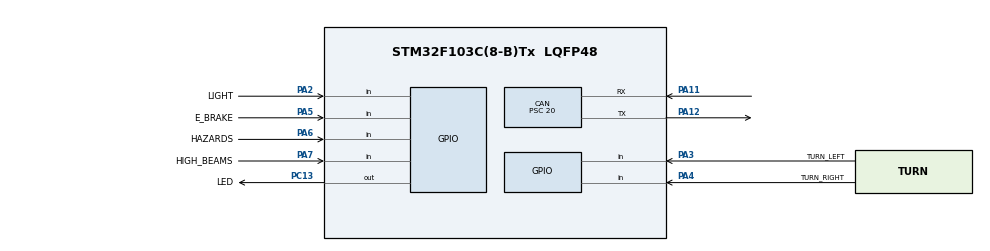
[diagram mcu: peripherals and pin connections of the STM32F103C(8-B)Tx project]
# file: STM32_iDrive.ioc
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CAN.BS1=CAN_BS1_16TQ
CAN.CalculateTimeBit=10000
CAN.CalculateTimeQuantum=555.5555555555555
CAN.Prescaler=20
Mcu.Family=STM32F1
Mcu.Name=STM32F103C(8-B)Tx
Mcu.Package=LQFP48
NVIC.PriorityGroup=NVIC_PRIORITYGROUP_4
NVIC.USB_HP_CAN1_TX_IRQn=true\:0\:0\:false\:false\:true\:true\:true
NVIC.USB_LP_CAN1_RX0_IRQn=true\:0\:0\:false\:false\:true\:true\:true
PA11.Mode=Master
PA11.Signal=CAN_RX
PA12.Mode=Master
PA12.Signal=CAN_TX
PA13.Mode=Serial_Wire
PA13.Signal=SYS_JTMS-SWDIO
PA14.Mode=Serial_Wire
PA14.Signal=SYS_JTCK-SWCLK
PA2.GPIO_Label=LIGHT
PA2.GPIO_PuPd=GPIO_PULLDOWN
PA2.Signal=GPIO_Input
PA3.GPIO_Label=TURN_LEFT
PA3.GPIO_PuPd=GPIO_PULLDOWN
PA3.Signal=GPIO_Input
PA4.GPIO_Label=TURN_RIGHT
PA4.GPIO_PuPd=GPIO_PULLDOWN
PA4.Signal=GPIO_Input
PA5.GPIO_Label=E_BRAKE
PA5.GPIO_PuPd=GPIO_PULLDOWN
PA5.Signal=GPIO_Input
PA6.GPIO_Label=HAZARDS
PA6.GPIO_PuPd=GPIO_PULLDOWN
PA6.Signal=GPIO_Input
PA7.GPIO_Label=HIGH_BEAMS
PA7.GPIO_PuPd=GPIO_PULLDOWN
PA7.Signal=GPIO_Input
PC13-TAMPER-RTC.GPIO_Label=LED
PC13-TAMPER-RTC.GPIO_ModeDefaultOutputPP=GPIO_MODE_OUTPUT_PP
PC13-TAMPER-RTC.GPIO_PuPd=GPIO_NOPULL
PC13-TAMPER-RTC.PinState=GPIO_PIN_SET
PC13-TAMPER-RTC.Signal=GPIO_Output
PD0-OSC_IN.Mode=HSE-External-Oscillator
PD0-OSC_IN.Signal=RCC_OSC_IN
PD1-OSC_OUT.Mode=HSE-External-Oscillator
PD1-OSC_OUT.Signal=RCC_OSC_OUT
ProjectManager.HeapSize=0x200
ProjectManager.StackSize=0x400
ProjectManager.TargetToolchain=STM32CubeIDE
RCC.AHBFreq_Value=72000000
RCC.APB1CLKDivider=RCC_HCLK_DIV2
RCC.APB1Freq_Value=36000000
RCC.APB1TimFreq_Value=72000000
RCC.APB2Freq_Value=72000000
RCC.APB2TimFreq_Value=72000000
RCC.HCLKFreq_Value=72000000
RCC.PLLMUL=RCC_PLL_MUL9
RCC.PLLSourceVirtual=RCC_PLLSOURCE_HSE
RCC.SYSCLKFreq_VALUE=72000000
RCC.SYSCLKSource=RCC_SYSCLKSOURCE_PLLCLK
RCC.USBFreq_Value=72000000
board=custom

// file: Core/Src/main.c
/* USER CODE BEGIN Header */
/**
  ******************************************************************************
  * @file           : main.c
  * @brief          : Main program body
  ******************************************************************************
  * @attention
  *
  * <h2><center>&copy; Copyright (c) 2020 STMicroelectronics.
  * All rights reserved.</center></h2>
  *
  * This software component is licensed by ST under BSD 3-Clause license,
  * the "License"; You may not use this file except in compliance with the
  * License. You may obtain a copy of the License at:
  *                        opensource.org/licenses/BSD-3-Clause
  *
  ******************************************************************************
  */
/* USER CODE END Header */

#include "main.h"

/* USER CODE BEGIN Includes */
#include "stdbool.h"
#include <stdio.h>
/* USER CODE END Includes */

CAN_HandleTypeDef hcan;

/* USER CODE BEGIN PV */
CAN_FilterTypeDef sFilterConfig;
CAN_TxHeaderTypeDef TxHeader;
CAN_RxHeaderTypeDef RxHeader;
uint8_t TxData[8];
uint8_t RxData[8];
uint32_t TxMailbox;

typedef struct
{
  uint16_t rpm;
  uint8_t mph;
  uint16_t oiltemp;
  uint16_t watertemp;
  uint8_t ebrake;
  uint8_t fuel;
  uint8_t highbeams;
  uint8_t hazards;
} car_data_t;

typedef enum
{
  UNKNOWN = 0,
  INITIALIZED = 1,
  IGNITION_ON = 2,
  CRANKING = 3,
  RUNNING = 4
} cluster_state_t;

car_data_t car;
cluster_state_t cluster_state;

uint32_t time_1p5hz;
uint32_t time_2hz;
uint32_t time_5hz;
uint32_t time_10hz;
uint32_t time_100hz;
uint32_t time_turnsignal;
uint32_t time_lights;

uint32_t time_init;

uint32_t rpmcount;
uint32_t current_time;
uint32_t light_timer;
uint32_t abs_timer;
uint32_t counter_timer;
uint8_t abs_counter;
uint8_t counter;
uint16_t mph_counter;
uint32_t mph_timer;
uint16_t mph_last;

bool turnsignal_left;
bool lights_on;
uint16_t error_counter;

uint32_t rpmcount;

/* USER CODE END PV */

void SystemClock_Config(void);
static void MX_GPIO_Init(void);
static void MX_CAN_Init(void);

int main(void)
{

  /* MCU Configuration--------------------------------------------------------*/

  /* Reset of all peripherals, Initializes the Flash interface and the Systick. */
  HAL_Init();

  /* Configure the system clock */
  SystemClock_Config();

  /* Initialize all configured peripherals */
  MX_GPIO_Init();
  MX_CAN_Init();
  /* USER CODE BEGIN 2 */
  //  TxHeader.DLC = 8;
  //  TxHeader.StdId = 0x501;
  //  TxData[0] = 0x01;
  //  TxData[1] = 0x00;
  //  TxData[2] = 0x00;
  //  TxData[3] = 0x00;
  //  TxData[4] = 0x00;
  //  TxData[5] = 0x00;
  //  TxData[6] = 0x00;
  //  TxData[7] = 0x00;
  //
  //  TxMailbox = 0;

  //  Send_IGN_KEY_Status(3, &hcan, &TxHeader, &TxData, &TxMailbox);
  //  Set_Light_Switch(1, &hcan, &TxHeader, &TxData, &TxMailbox);
  //  if (HAL_CAN_AddTxMessage(&hcan, &TxHeader, &TxData, &TxMailbox) != HAL_OK)
  //  {
  //	  Error_Handler();
  //  }
  //  light_timer = HAL_GetTick();

  Initialize(); // init variables
  /* USER CODE END 2 */

  /* Infinite loop */
  /* USER CODE BEGIN WHILE */
  while (1)
  {
	  HAL_GPIO_TogglePin(GPIOC,GPIO_PIN_13);
	  HAL_Delay(500);
    //statemachine, that simulates turn on in car, we probably need to cycle trough ignition states?
//    switch (cluster_state)
//    {
//    case UNKNOWN:
//      if (UPDATE_10HZ) //updates every 100ms
//      {
//        Send_IGN_KEY_Status(1, &hcan, &TxHeader, &TxData, &TxMailbox); //T15
//        while (!HAL_CAN_GetTxMailboxesFreeLevel(&hcan));
//        if (HAL_CAN_AddTxMessage(&hcan, &TxHeader, &TxData, &TxMailbox) != HAL_OK)
//        {
//          Error_Handler();
//        }
//
//        time_10hz = HAL_GetTick();
//      }
//      if (UPDATE_5HZ) //updates every 200ms
//      {
//        Send_IGN_Status(0, &hcan, &TxHeader, &TxData, &TxMailbox);
//        while (!HAL_CAN_GetTxMailboxesFreeLevel(&hcan));
//        if (HAL_CAN_AddTxMessage(&hcan, &TxHeader, &TxData, &TxMailbox) != HAL_OK)
//        {
//          Error_Handler();
//        }
//
//        Periodic_Maintenance();
//
//        time_5hz = HAL_GetTick();
//      }
//
//      if (UPDATE_2SEC)
//      {
//        cluster_state = INITIALIZED;
//        time_init = HAL_GetTick();
//      }
//
//      if (UPDATE_LIGHTS)
//      {
//        Set_Lights(lights_on, &hcan, &TxHeader, &TxData, &TxMailbox); //this might need to be repeated as lights otherwise turn off after a few seconds
//        while (!HAL_CAN_GetTxMailboxesFreeLevel(&hcan));
//        if (HAL_CAN_AddTxMessage(&hcan, &TxHeader, &TxData, &TxMailbox) != HAL_OK)
//        {
//          Error_Handler();
//        }
//      }
//
//      break;
//    case INITIALIZED:
//      if (UPDATE_10HZ) //updates every 100ms
//      {
//        Send_IGN_KEY_Status(1, &hcan, &TxHeader, &TxData, &TxMailbox); //engine off (key is being inserted)
//        while (!HAL_CAN_GetTxMailboxesFreeLevel(&hcan));
//        if (HAL_CAN_AddTxMessage(&hcan, &TxHeader, &TxData, &TxMailbox) != HAL_OK)
//        {
//          Error_Handler();
//        }
//
//        time_10hz = HAL_GetTick();
//      }
//      if (UPDATE_5HZ) //updates every 200ms
//      {
//        Send_IGN_Status(1, &hcan, &TxHeader, &TxData, &TxMailbox);
//        while (!HAL_CAN_GetTxMailboxesFreeLevel(&hcan));
//        if (HAL_CAN_AddTxMessage(&hcan, &TxHeader, &TxData, &TxMailbox) != HAL_OK)
//        {
//          Error_Handler();
//        }
//
//        Periodic_Maintenance();
//
//        time_5hz = HAL_GetTick();
//      }
//
//      if (UPDATE_1SEC)
//      {
//        cluster_state = IGNITION_ON;
//        time_init = HAL_GetTick();
//      }
//      if (UPDATE_LIGHTS)
//      {
//        Set_Lights(lights_on, &hcan, &TxHeader, &TxData, &TxMailbox); //this might need to be repeated as lights otherwise turn off after a few seconds
//        while (!HAL_CAN_GetTxMailboxesFreeLevel(&hcan));
//        if (HAL_CAN_AddTxMessage(&hcan, &TxHeader, &TxData, &TxMailbox) != HAL_OK)
//        {
//          Error_Handler();
//        }
//
//        time_lights = HAL_GetTick();
//      }
//      break;
//    case IGNITION_ON:
//      if (UPDATE_10HZ) //updates every 100ms
//      {
//        Send_IGN_KEY_Status(3, &hcan, &TxHeader, &TxData, &TxMailbox); //engine running / key to position 2
//        while (!HAL_CAN_GetTxMailboxesFreeLevel(&hcan));
//        if (HAL_CAN_AddTxMessage(&hcan, &TxHeader, &TxData, &TxMailbox) != HAL_OK)
//        {
//          Error_Handler();
//        }
//        time_10hz = HAL_GetTick();
//      }
//      if (UPDATE_5HZ) //updates every 200ms
//      {
//        Send_IGN_Status(2, &hcan, &TxHeader, &TxData, &TxMailbox);
//        while (!HAL_CAN_GetTxMailboxesFreeLevel(&hcan));
//        if (HAL_CAN_AddTxMessage(&hcan, &TxHeader, &TxData, &TxMailbox) != HAL_OK)
//        {
//          Error_Handler();
//        }
//
//        Set_Temp(car.oiltemp, &hcan, &TxHeader, &TxData, &TxMailbox);
//        while (!HAL_CAN_GetTxMailboxesFreeLevel(&hcan));
//        if (HAL_CAN_AddTxMessage(&hcan, &TxHeader, &TxData, &TxMailbox) != HAL_OK)
//        {
//          Error_Handler();
//        }
//
//        Set_Fuel(car.fuel, &hcan, &TxHeader, &TxData, &TxMailbox);
//        while (!HAL_CAN_GetTxMailboxesFreeLevel(&hcan));
//        if (HAL_CAN_AddTxMessage(&hcan, &TxHeader, &TxData, &TxMailbox) != HAL_OK)
//        {
//          Error_Handler();
//        }
//
//        Periodic_Maintenance();
//        Delete_Error_MSG();
//
//        time_5hz = HAL_GetTick();
//      }
//
//      if (UPDATE_2SEC)
//      {
//        cluster_state = CRANKING; // only if key to cranking
//        time_init = HAL_GetTick();
//      }
//      if (UPDATE_LIGHTS)
//      {
//        Set_Lights(lights_on, &hcan, &TxHeader, &TxData, &TxMailbox); //this might need to be repeated as lights otherwise turn off after a few seconds
//        while (!HAL_CAN_GetTxMailboxesFreeLevel(&hcan));
//        if (HAL_CAN_AddTxMessage(&hcan, &TxHeader, &TxData, &TxMailbox) != HAL_OK)
//        {
//          Error_Handler();
//        }
//        time_lights = HAL_GetTick();
//      }
//      break;
//    case CRANKING:
//      if (UPDATE_10HZ) //updates every 100ms
//      {
//        Send_IGN_KEY_Status(4, &hcan, &TxHeader, &TxData, &TxMailbox); //engine off (key in position 1 also this value when engine is stopped)
//        while (!HAL_CAN_GetTxMailboxesFreeLevel(&hcan));
//        if (HAL_CAN_AddTxMessage(&hcan, &TxHeader, &TxData, &TxMailbox) != HAL_OK)
//        {
//          Error_Handler();
//        }
//        time_10hz = HAL_GetTick();
//      }
//      if (UPDATE_5HZ) //updates every 200ms
//      {
//        Send_IGN_Status(2, &hcan, &TxHeader, &TxData, &TxMailbox);
//        while (!HAL_CAN_GetTxMailboxesFreeLevel(&hcan));
//        if (HAL_CAN_AddTxMessage(&hcan, &TxHeader, &TxData, &TxMailbox) != HAL_OK)
//        {
//          Error_Handler();
//        }
//
//        Set_Temp(car.oiltemp, &hcan, &TxHeader, &TxData, &TxMailbox);
//        while (!HAL_CAN_GetTxMailboxesFreeLevel(&hcan));
//        if (HAL_CAN_AddTxMessage(&hcan, &TxHeader, &TxData, &TxMailbox) != HAL_OK)
//        {
//          Error_Handler();
//        }
//
//        Set_Fuel(car.fuel, &hcan, &TxHeader, &TxData, &TxMailbox);
//        while (!HAL_CAN_GetTxMailboxesFreeLevel(&hcan));
//        if (HAL_CAN_AddTxMessage(&hcan, &TxHeader, &TxData, &TxMailbox) != HAL_OK)
//        {
//          Error_Handler();
//        }
//
//        Periodic_Maintenance();
//
//        time_5hz = HAL_GetTick();
//      }
//
//      if (UPDATE_1SEC) // 1sec for simulation only, otherwise use engine status from ECU
//      {
//        cluster_state = RUNNING;
//        time_init = HAL_GetTick();
//      }
//      if (UPDATE_LIGHTS)
//      {
//        Set_Lights(lights_on, &hcan, &TxHeader, &TxData, &TxMailbox); //this might need to be repeated as lights otherwise turn off after a few seconds
//        while (!HAL_CAN_GetTxMailboxesFreeLevel(&hcan));
//        if (HAL_CAN_AddTxMessage(&hcan, &TxHeader, &TxData, &TxMailbox) != HAL_OK)
//        {
//          Error_Handler();
//        }
//        time_lights = HAL_GetTick();
//      }
//      break;
//    case RUNNING:
//      if (UPDATE_10HZ) //updates every 100ms
//      {
//        Send_IGN_KEY_Status(3, &hcan, &TxHeader, &TxData, &TxMailbox); //engine off (key in position 1 also this value when engine is stopped)
//        while (!HAL_CAN_GetTxMailboxesFreeLevel(&hcan));
//        if (HAL_CAN_AddTxMessage(&hcan, &TxHeader, &TxData, &TxMailbox) != HAL_OK)
//        {
//          Error_Handler();
//        }
//        Send_Speed_Msg();
//
//        time_10hz = HAL_GetTick();
//      }
//      if (UPDATE_5HZ) //updates every 200ms
//      {
//        Send_IGN_Status(2, &hcan, &TxHeader, &TxData, &TxMailbox);
//        while (!HAL_CAN_GetTxMailboxesFreeLevel(&hcan));
//        if (HAL_CAN_AddTxMessage(&hcan, &TxHeader, &TxData, &TxMailbox) != HAL_OK)
//        {
//          Error_Handler();
//        }
//
//        Set_Temp(car.oiltemp, &hcan, &TxHeader, &TxData, &TxMailbox);
//        while (!HAL_CAN_GetTxMailboxesFreeLevel(&hcan));
//        if (HAL_CAN_AddTxMessage(&hcan, &TxHeader, &TxData, &TxMailbox) != HAL_OK)
//        {
//          Error_Handler();
//        }
//        Set_Fuel(car.fuel, &hcan, &TxHeader, &TxData, &TxMailbox);
//        while (!HAL_CAN_GetTxMailboxesFreeLevel(&hcan));
//        if (HAL_CAN_AddTxMessage(&hcan, &TxHeader, &TxData, &TxMailbox) != HAL_OK)
//        {
//          Error_Handler();
//        }
//
//        Periodic_Maintenance();
//
//        time_5hz = HAL_GetTick();
//      }
//      if (UPDATE_100HZ) //updates every 10ms
//      {
//        Set_RPM(car.rpm, &hcan, &TxHeader, &TxData, &TxMailbox);
//        while (!HAL_CAN_GetTxMailboxesFreeLevel(&hcan));
//        if (HAL_CAN_AddTxMessage(&hcan, &TxHeader, &TxData, &TxMailbox) != HAL_OK)
//        {
//          Error_Handler();
//        }
//        // rpmcount++;
//        // if (rpmcount > 7000)
//        //   rpmcount = 0;
//        time_100hz = HAL_GetTick();
//      }
//      if (UPDATE_LIGHTS)
//      {
//        Set_Lights(lights_on, &hcan, &TxHeader, &TxData, &TxMailbox); //this might need to be repeated as lights otherwise turn off after a few seconds
//        while (!HAL_CAN_GetTxMailboxesFreeLevel(&hcan));
//        if (HAL_CAN_AddTxMessage(&hcan, &TxHeader, &TxData, &TxMailbox) != HAL_OK)
//        {
//          Error_Handler();
//        }
//
//        time_lights = HAL_GetTick();
//      }
//      break;
//    default:
//      break;
//    }

    if (UPDATE_100HZ) //updates every 10ms
    {
      // Set_RPM(car.rpm, &hcan, &TxHeader, &TxData, &TxMailbox);
      // if (HAL_CAN_AddTxMessage(&hcan, &TxHeader, &TxData, &TxMailbox) != HAL_OK)
      // {
      //   Error_Handler();
      // }
      // rpmcount++;
      // if (rpmcount > 7000)
      //   rpmcount = 0;
      // time_100hz = HAL_GetTick();
    }

    // if (UPDATE_2HZ)
    // {
    //   Delete_Error_MSG();

    //   time_2hz = HAL_GetTick();
    // }

    if (HAL_GPIO_ReadPin(GPIOA, LIGHT_Pin))
      lights_on = true;
    else if (!HAL_GPIO_ReadPin(GPIOA, LIGHT_Pin))
      lights_on = false;

    if (HAL_GPIO_ReadPin(GPIOA, TURN_LEFT_Pin))
    {
      if (UPDATE_TURNSIGNAL)
      {
        Turnsignal_Left();
        time_turnsignal = HAL_GetTick();
      }
    }

    if (HAL_GPIO_ReadPin(GPIOA, TURN_RIGHT_Pin))
    {
      if (UPDATE_TURNSIGNAL)
      {
        Turnsignal_Right();
        time_turnsignal = HAL_GetTick();
      }
    }
    if (HAL_GPIO_ReadPin(GPIOA, E_BRAKE_Pin))
      car.ebrake = true;
    else if (!HAL_GPIO_ReadPin(GPIOA, E_BRAKE_Pin))
      car.ebrake = false;

    if (HAL_GPIO_ReadPin(GPIOA, HAZARDS_Pin))
    {
      if (UPDATE_TURNSIGNAL)
      {
        Hazards();
        time_turnsignal = HAL_GetTick();
      }
    }
    // car.hazards = true;
    else if (!HAL_GPIO_ReadPin(GPIOA, HAZARDS_Pin))
      car.hazards = false;

    if (HAL_GPIO_ReadPin(GPIOA, HIGH_BEAMS_Pin))
      car.highbeams = true;
    else if (!HAL_GPIO_ReadPin(GPIOA, HIGH_BEAMS_Pin))
      car.highbeams = false;
  }
}

  /* USER CODE END WHILE */

  /**
  * @brief System Clock Configuration
  * @retval None
  */
  void SystemClock_Config(void)
  {
    RCC_OscInitTypeDef RCC_OscInitStruct = {0};
    RCC_ClkInitTypeDef RCC_ClkInitStruct = {0};

    /** Initializes the CPU, AHB and APB busses clocks
  */
    RCC_OscInitStruct.OscillatorType = RCC_OSCILLATORTYPE_HSE;
    RCC_OscInitStruct.HSEState = RCC_HSE_ON;
    RCC_OscInitStruct.HSEPredivValue = RCC_HSE_PREDIV_DIV1;
    RCC_OscInitStruct.HSIState = RCC_HSI_ON;
    RCC_OscInitStruct.PLL.PLLState = RCC_PLL_ON;
    RCC_OscInitStruct.PLL.PLLSource = RCC_PLLSOURCE_HSE;
    RCC_OscInitStruct.PLL.PLLMUL = RCC_PLL_MUL9;
    if (HAL_RCC_OscConfig(&RCC_OscInitStruct) != HAL_OK)
    {
      Error_Handler();
    }
    /** Initializes the CPU, AHB and APB busses clocks
  */
    RCC_ClkInitStruct.ClockType = RCC_CLOCKTYPE_HCLK | RCC_CLOCKTYPE_SYSCLK | RCC_CLOCKTYPE_PCLK1 | RCC_CLOCKTYPE_PCLK2;
    RCC_ClkInitStruct.SYSCLKSource = RCC_SYSCLKSOURCE_PLLCLK;
    RCC_ClkInitStruct.AHBCLKDivider = RCC_SYSCLK_DIV1;
    RCC_ClkInitStruct.APB1CLKDivider = RCC_HCLK_DIV2;
    RCC_ClkInitStruct.APB2CLKDivider = RCC_HCLK_DIV1;

    if (HAL_RCC_ClockConfig(&RCC_ClkInitStruct, FLASH_LATENCY_2) != HAL_OK)
    {
      Error_Handler();
    }
  }

  /**
  * @brief CAN Initialization F
  * unction
  * @param None
  * @retval None
  */
  static void MX_CAN_Init(void)
  {

    hcan.Instance = CAN1;
    hcan.Init.Prescaler = 20;
    hcan.Init.Mode = CAN_MODE_NORMAL;
    hcan.Init.SyncJumpWidth = CAN_SJW_1TQ;
    hcan.Init.TimeSeg1 = CAN_BS1_16TQ;
    hcan.Init.TimeSeg2 = CAN_BS2_1TQ;
    hcan.Init.TimeTriggeredMode = DISABLE;
    hcan.Init.AutoBusOff = DISABLE;
    hcan.Init.AutoWakeUp = DISABLE;
    hcan.Init.AutoRetransmission = DISABLE;
    hcan.Init.ReceiveFifoLocked = DISABLE;
    hcan.Init.TransmitFifoPriority = DISABLE;
    if (HAL_CAN_Init(&hcan) != HAL_OK)
    {
      Error_Handler();
    }
    /* USER CODE BEGIN CAN_Init 2 */
    sFilterConfig.FilterBank = 0; // 0..13 for CAN1, 14..27 for CAN2
    //sFilterConfig.FilterFIFOAssignment = CAN_FILTER_FIFO0;
    sFilterConfig.SlaveStartFilterBank = 14;
    sFilterConfig.FilterFIFOAssignment = CAN_RX_FIFO0;
    sFilterConfig.FilterMode = CAN_FILTERMODE_IDMASK;
    sFilterConfig.FilterScale = CAN_FILTERSCALE_32BIT;
    sFilterConfig.FilterIdHigh = 0x0000;
    sFilterConfig.FilterIdLow = 0x0000;
    sFilterConfig.FilterMaskIdHigh = 0x0000;
    sFilterConfig.FilterMaskIdLow = 0x0000;
    sFilterConfig.FilterActivation = ENABLE;
    if (HAL_CAN_ConfigFilter(&hcan, &sFilterConfig) != HAL_OK)
    {
      /* Filter configuration Error */
      Error_Handler();
    }
    // now start the can peripheral
    if (HAL_CAN_Start(&hcan) != HAL_OK)
    {
      Error_Handler();
    }
    // activate CAN RX IRQ
    if (HAL_CAN_ActivateNotification(&hcan, CAN_IT_RX_FIFO0_MSG_PENDING) != HAL_OK)
    {
      Error_Handler();
    }
    // send test message
    //   TxHeader.DLC = 8;
    //   TxHeader.StdId = 0x273;
    //   TxData[0] = 0x1D;
    //   TxData[1] = 0xE1;
    //   TxData[2] = 0x00;
    //   TxData[3] = 0xF0;
    //   TxData[4] = 0xFF;
    //   TxData[5] = 0x7F;
    //   TxData[6] = 0xDE;
    //   TxData[7] = 0x04;
    //   TxMailbox = 0;
    //
    //   if (HAL_CAN_AddTxMessage(&hcan, &TxHeader, &TxData, &TxMailbox) != HAL_OK)
    //   {
    //   	Error_Handler();
    //   }
    //
    //   HAL_Delay(250);
    //
    //   if (HAL_CAN_AddTxMessage(&hcan, &TxHeader, &TxData, &TxMailbox) != HAL_OK)
    //   {
    //	   Error_Handler();
    //   }

    /* USER CODE END CAN_Init 2 */
  }

  /**
  * @brief GPIO Initialization Function
  * @param None
  * @retval None
  */
  static void MX_GPIO_Init(void)
  {
    GPIO_InitTypeDef GPIO_InitStruct = {0};

    /* GPIO Ports Clock Enable */
    __HAL_RCC_GPIOC_CLK_ENABLE();
    __HAL_RCC_GPIOD_CLK_ENABLE();
    __HAL_RCC_GPIOA_CLK_ENABLE();

    /*Configure GPIO pin Output Level */
    HAL_GPIO_WritePin(LED_GPIO_Port, LED_Pin, GPIO_PIN_SET);

    /*Configure GPIO pin : LED_Pin */
    GPIO_InitStruct.Pin = LED_Pin;
    GPIO_InitStruct.Mode = GPIO_MODE_OUTPUT_PP;
    GPIO_InitStruct.Pull = GPIO_NOPULL;
    GPIO_InitStruct.Speed = GPIO_SPEED_FREQ_LOW;
    HAL_GPIO_Init(LED_GPIO_Port, &GPIO_InitStruct);

    /*Configure GPIO pins : LIGHT_Pin TURN_LEFT_Pin TURN_RIGHT_Pin E_BRAKE_Pin
                           HAZARDS_Pin HIGH_BEAMS_Pin */
    GPIO_InitStruct.Pin = LIGHT_Pin | TURN_LEFT_Pin | TURN_RIGHT_Pin | E_BRAKE_Pin | HAZARDS_Pin | HIGH_BEAMS_Pin;
    GPIO_InitStruct.Mode = GPIO_MODE_INPUT;
    GPIO_InitStruct.Pull = GPIO_PULLDOWN;
    HAL_GPIO_Init(GPIOA, &GPIO_InitStruct);
  }

  /* USER CODE BEGIN 4 */

  void Compose_CAN_msg(uint8_t offset, uint8_t mtype, uint8_t fromid, uint8_t toid, uint8_t table, uint8_t length, uint64_t data)
  {
    //  TxData[0] = AFR_to_ADC_counts(o2_sensor[0].AFR) >> 8;
    //  TxData[1] = AFR_to_ADC_counts(o2_sensor[0].AFR) & 0xFF;
    //  TxData[2] = AFR_to_ADC_counts(o2_sensor[1].AFR) >> 8;
    //  TxData[3] = AFR_to_ADC_counts(o2_sensor[1].AFR) & 0xFF;
    //  TxData[4] = AFR_to_ADC_counts(o2_sensor[2].AFR) >> 8;
    //  TxData[5] = AFR_to_ADC_counts(o2_sensor[2].AFR) & 0xFF;
    //  TxData[6] = AFR_to_ADC_counts(o2_sensor[3].AFR) >> 8;
    //  TxData[7] = AFR_to_ADC_counts(o2_sensor[3].AFR) & 0xFF;
    // TxData[2] = o2_sensor.function_code >> 8;
    // TxData[3] = o2_sensor.function_code & 0xFF;
    // TxData[4] = o2_sensor.warmup >> 8;
    // TxData[5] = o2_sensor.warmup & 0xFF;
    // TxData[6] = o2_sensor.error_code >> 8;
    // TxData[7] = o2_sensor.error_code & 0xFF;
    //  TxHeader.DLC = length;
    //  TxMailbox = 0;
    //  TxHeader.ExtId = (offset << 18) | (mtype << 15) | (fromid << 11) | (toid << 7) | (table << 3);
    //  TxHeader.IDE = CAN_ID_EXT;
    //  if (HAL_CAN_AddTxMessage(&hcan, &TxHeader, &TxData, &TxMailbox) != HAL_OK)
    //  {
    //    Error_Handler();
    //  }
  }

  void HAL_CAN_RxFifo0MsgPendingCallback(CAN_HandleTypeDef * hcan)
  {
    if (HAL_CAN_GetRxMessage(hcan, CAN_RX_FIFO0, &RxHeader, RxData) != HAL_OK)
    {
      Error_Handler();
    }
    else
    {
      //		Parse_CAN_data();
      //got valid can data
    }
  }

  void Initialize()
  {
    time_100hz = HAL_GetTick();
    time_10hz = HAL_GetTick();
    time_5hz = HAL_GetTick();
    time_2hz = HAL_GetTick();
    time_1p5hz = HAL_GetTick();
    time_turnsignal = HAL_GetTick();
    abs_timer = HAL_GetTick();
    counter_timer = HAL_GetTick();
    time_init = HAL_GetTick();
    time_lights = HAL_GetTick();

    turnsignal_left = false;
    lights_on = false;
    rpmcount = 500;
    abs_counter = 0;
    counter = 0;
    mph_counter = 0;
    mph_last = 0;
    mph_timer = 0;

    car.mph = 5;
    car.rpm = 1500;
    car.oiltemp = 250;
    car.ebrake = false; //ebrake off
    car.fuel = 100;     // 100%
    car.highbeams = false;
    car.hazards = false;

    error_counter = 0;
    // Set_Time(&hcan, &TxHeader, &TxData, &TxMailbox);
    // if (HAL_CAN_AddTxMessage(&hcan, &TxHeader, &TxData, &TxMailbox) != HAL_OK)
    // {
    //   Error_Handler();
    // }

    // Delete_Error_MSG();
  }

  void Periodic_Maintenance()
  {
    // Set_DSC(car.mph, &hcan, &TxHeader, &TxData, &TxMailbox);
    // while (!HAL_CAN_GetTxMailboxesFreeLevel(&hcan));
    // if (HAL_CAN_AddTxMessage(&hcan, &TxHeader, &TxData, &TxMailbox) != HAL_OK)
    // {
    //   Error_Handler();
    // }
    // Set_Seatbelt_Light(0, &hcan, &TxHeader, &TxData, &TxMailbox);
    // if (HAL_CAN_AddTxMessage(&hcan, &TxHeader, &TxData, &TxMailbox) != HAL_OK)
    // {
    //   Error_Handler();
    // }

    // Set_ABS(0, &hcan, &TxHeader, &TxData, &TxMailbox);
    // while (!HAL_CAN_GetTxMailboxesFreeLevel(&hcan));
    // if (HAL_CAN_AddTxMessage(&hcan, &TxHeader, &TxData, &TxMailbox) != HAL_OK)
    // {
    //   Error_Handler();
    // }

    if (HAL_GetTick() >= (abs_timer + 200))
    {
      abs_counter++;
      abs_timer = HAL_GetTick();
    }
    if (abs_counter > 14)
      abs_counter = 0;
    Set_ABS_2(abs_counter, &hcan, &TxHeader, &TxData, &TxMailbox);
    while (!HAL_CAN_GetTxMailboxesFreeLevel(&hcan));
    if (HAL_CAN_AddTxMessage(&hcan, &TxHeader, &TxData, &TxMailbox) != HAL_OK)
    {
      Error_Handler();
    }

    if (HAL_GetTick() >= (counter_timer + 200))
    {
      counter++;
      counter_timer = HAL_GetTick();
    }
    if (counter > 254)
      counter = 0;
    Set_Counter(counter, &hcan, &TxHeader, &TxData, &TxMailbox);
    while (!HAL_CAN_GetTxMailboxesFreeLevel(&hcan));
    if (HAL_CAN_AddTxMessage(&hcan, &TxHeader, &TxData, &TxMailbox) != HAL_OK)
    {
      Error_Handler();
    }

    Set_Ebrake(car.ebrake, &hcan, &TxHeader, &TxData, &TxMailbox);
    while (!HAL_CAN_GetTxMailboxesFreeLevel(&hcan));
    if (HAL_CAN_AddTxMessage(&hcan, &TxHeader, &TxData, &TxMailbox) != HAL_OK)
    {
      Error_Handler();
    }
  }

  void Delete_Error_MSG()
  {
    Set_Error(207, &hcan, &TxHeader, &TxData, &TxMailbox);
    while (!HAL_CAN_GetTxMailboxesFreeLevel(&hcan));
    if (HAL_CAN_AddTxMessage(&hcan, &TxHeader, &TxData, &TxMailbox) != HAL_OK)
    {
      Error_Handler();
    }
    // Set_Error(281, &hcan, &TxHeader, &TxData, &TxMailbox);
    // if (HAL_CAN_AddTxMessage(&hcan, &TxHeader, &TxData, &TxMailbox) != HAL_OK)
    // {
    //   Error_Handler();
    // }
    // Set_Error(60, &hcan, &TxHeader, &TxData, &TxMailbox);
    // if (HAL_CAN_AddTxMessage(&hcan, &TxHeader, &TxData, &TxMailbox) != HAL_OK)
    // {
    //   Error_Handler();
    // }

    Set_Error(167, &hcan, &TxHeader, &TxData, &TxMailbox);
    while (!HAL_CAN_GetTxMailboxesFreeLevel(&hcan));
    if (HAL_CAN_AddTxMessage(&hcan, &TxHeader, &TxData, &TxMailbox) != HAL_OK)
    {
      Error_Handler();
    }
    Set_Error(97, &hcan, &TxHeader, &TxData, &TxMailbox);
    while (!HAL_CAN_GetTxMailboxesFreeLevel(&hcan));
    if (HAL_CAN_AddTxMessage(&hcan, &TxHeader, &TxData, &TxMailbox) != HAL_OK)
    {
      Error_Handler();
    }
    // Set_Error(300, &hcan, &TxHeader, &TxData, &TxMailbox);
    // if (HAL_CAN_AddTxMessage(&hcan, &TxHeader, &TxData, &TxMailbox) != HAL_OK)
    // {
    //   Error_Handler();
    // }
  }

  void Turnsignal_Left()
  {
    Set_Signals(2, &hcan, &TxHeader, &TxData, &TxMailbox);
    while (!HAL_CAN_GetTxMailboxesFreeLevel(&hcan));
    if (HAL_CAN_AddTxMessage(&hcan, &TxHeader, &TxData, &TxMailbox) != HAL_OK)
    {
      Error_Handler();
    }
    // HAL_Delay(5);
    Set_Signals(1, &hcan, &TxHeader, &TxData, &TxMailbox);
    while (!HAL_CAN_GetTxMailboxesFreeLevel(&hcan));
    if (HAL_CAN_AddTxMessage(&hcan, &TxHeader, &TxData, &TxMailbox) != HAL_OK)
    {
      Error_Handler();
    }
  }

  void Turnsignal_Right()
  {
    Set_Signals(4, &hcan, &TxHeader, &TxData, &TxMailbox);
    while (!HAL_CAN_GetTxMailboxesFreeLevel(&hcan));
    if (HAL_CAN_AddTxMessage(&hcan, &TxHeader, &TxData, &TxMailbox) != HAL_OK)
    {
      Error_Handler();
    }
    // HAL_Delay(5);
    Set_Signals(3, &hcan, &TxHeader, &TxData, &TxMailbox);
    while (!HAL_CAN_GetTxMailboxesFreeLevel(&hcan));
    if (HAL_CAN_AddTxMessage(&hcan, &TxHeader, &TxData, &TxMailbox) != HAL_OK)
    {
      Error_Handler();
    }
  }

  void Hazards()
  {
    Set_Signals(6, &hcan, &TxHeader, &TxData, &TxMailbox);
    while (!HAL_CAN_GetTxMailboxesFreeLevel(&hcan));
    if (HAL_CAN_AddTxMessage(&hcan, &TxHeader, &TxData, &TxMailbox) != HAL_OK)
    {
      Error_Handler();
    }

    Set_Signals(5, &hcan, &TxHeader, &TxData, &TxMailbox);
    while (!HAL_CAN_GetTxMailboxesFreeLevel(&hcan));
    if (HAL_CAN_AddTxMessage(&hcan, &TxHeader, &TxData, &TxMailbox) != HAL_OK)
    {
      Error_Handler();
    }
  }

  void Send_Speed_Msg()
  {
    uint16_t mph_a, mph_2a;

    mph_a = (((HAL_GetTick() - mph_timer) / 50) * car.mph / 2);
    mph_2a = mph_a + mph_last;
    mph_last = mph_2a;
    mph_timer = HAL_GetTick();

    Set_MPH(mph_2a, mph_counter, &hcan, &TxHeader, &TxData, &TxMailbox);
    while (!HAL_CAN_GetTxMailboxesFreeLevel(&hcan));
    if (HAL_CAN_AddTxMessage(&hcan, &TxHeader, &TxData, &TxMailbox) != HAL_OK)
    {
      Error_Handler();
    }

    mph_counter += 200;
  }
  /* USER CODE END 4 */

  /**
  * @brief  This function is executed in case of error occurrence.
  * @retval None
  */
  void Error_Handler(void)
  {
    /* USER CODE BEGIN Error_Handler_Debug */
    /* User can add his own implementation to report the HAL error return state */
    // printf("ERROR!");
    error_counter++;
    // HAL_GPIO_WritePin(LED_GPIO_Port, LED_Pin, 0);
    HAL_GPIO_TogglePin(LED_GPIO_Port, LED_Pin);

    /* USER CODE END Error_Handler_Debug */
  }

  /************************ (C) COPYRIGHT STMicroelectronics *****END OF FILE****/
